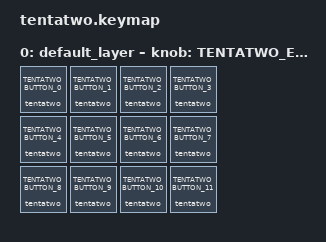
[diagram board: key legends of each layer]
#include <behaviors.dtsi>
#include <behaviors/tentatwo.dtsi>
#include <dt-bindings/zmk/keys.h>
#include <dt-bindings/zmk-tentatwo/tentatwo.h>

/ {
    behaviors {
        enc: enc {
            compatible = "zmk,behavior-sensor-rotate-var";
            #sensor-binding-cells = <2>;
            bindings = <&tentatwo>, <&tentatwo>;
        };
    };

    keymap {
        compatible = "zmk,keymap";

        default_layer { // Layer 0
            // TODO: Replace behaviors with tentatwo behaviors
            // -------------------------------------------------
            // | 0 | 1 | 2 | 3 |
            // | 4 | 5 | 6 | 7 |
            // | 8 | 9 | 10| 11|
            bindings = <
                &tentatwo TENTATWO_BUTTON_0  &tentatwo TENTATWO_BUTTON_1  &tentatwo TENTATWO_BUTTON_2  &tentatwo TENTATWO_BUTTON_3
                &tentatwo TENTATWO_BUTTON_4  &tentatwo TENTATWO_BUTTON_5  &tentatwo TENTATWO_BUTTON_6  &tentatwo TENTATWO_BUTTON_7
                &tentatwo TENTATWO_BUTTON_8  &tentatwo TENTATWO_BUTTON_9  &tentatwo TENTATWO_BUTTON_10 &tentatwo TENTATWO_BUTTON_11
            >;

            sensor-bindings = <&enc TENTATWO_ENCODER_DEC TENTATWO_ENCODER_INC>;
        };
    };
 };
